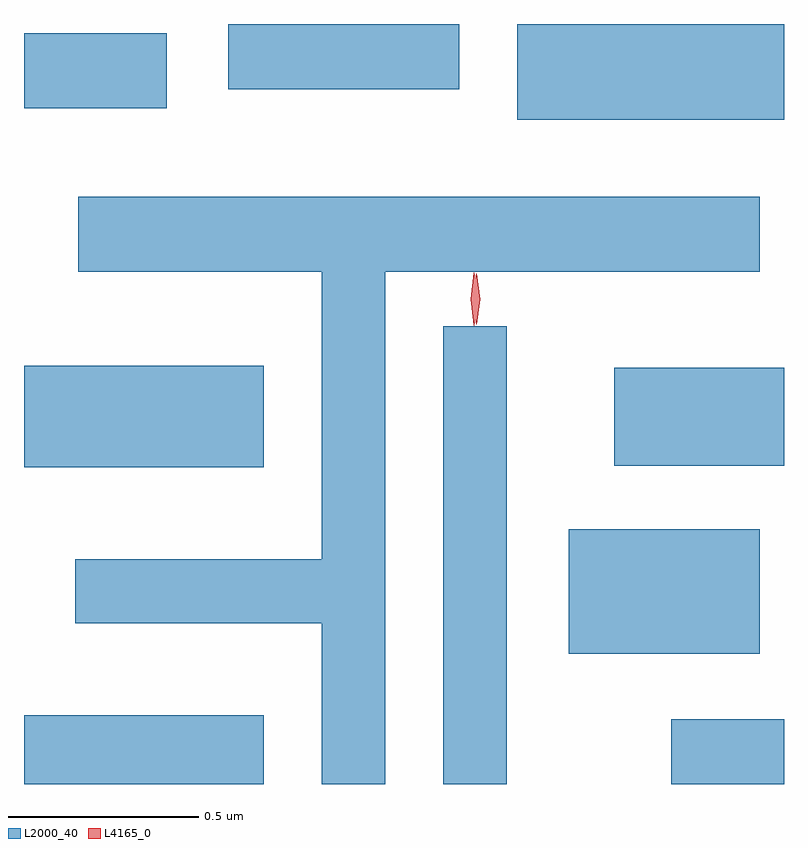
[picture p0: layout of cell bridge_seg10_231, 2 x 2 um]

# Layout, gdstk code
import gdstk
lib = gdstk.Library(unit=1e-6, precision=1e-09)
def R(c, l, rs):  # rectangles x0, y0, x1, y1
    for r in rs: c.add(gdstk.rectangle(r[:2], r[2:], *l))
def P(c, l, *ps):  # polygons
    for p in ps: c.add(gdstk.Polygon(p, *l))
L2000_40 = (2000, 40)
L4165_0 = (4165, 0)

bridge_seg10_231 = lib.new_cell('bridge_seg10_231')
R(bridge_seg10_231, L2000_40, [(1734.018,2140.968,1734.649,2141.149), (1735.121,2140.968,1735.289,2142.173), (1735.721,2140.968,1736.018,2141.139), (1735.451,2141.311,1735.954,2141.639), (1734.018,2141.801,1734.649,2142.069), (1735.571,2141.806,1736.018,2142.064), (1735.316,2142.716,1736.018,2142.968), (1734.018,2142.746,1734.394,2142.944), (1734.556,2142.796,1735.164,2142.968)])
P(bridge_seg10_231, L2000_40, [(1734.969,2142.316),(1735.954,2142.316),(1735.954,2142.514),(1734.161,2142.514),(1734.161,2142.316),(1734.801,2142.316),(1734.801,2141.559),(1734.153,2141.559),(1734.153,2141.391),(1734.801,2141.391),(1734.801,2140.968),(1734.969,2140.968)])
P(bridge_seg10_231, L4165_0, [(1735.203,2142.174),(1735.202,2142.175),(1735.193,2142.244),(1735.202,2142.313),(1735.203,2142.314),(1735.203,2142.313),(1735.213,2142.244),(1735.203,2142.175)],
  [(1735.208,2142.178),(1735.199,2142.244),(1735.208,2142.311),(1735.208,2142.311),(1735.209,2142.311),(1735.218,2142.244),(1735.209,2142.178),(1735.209,2142.178)])

lib.write_gds('bridge_seg10_231.gds')
